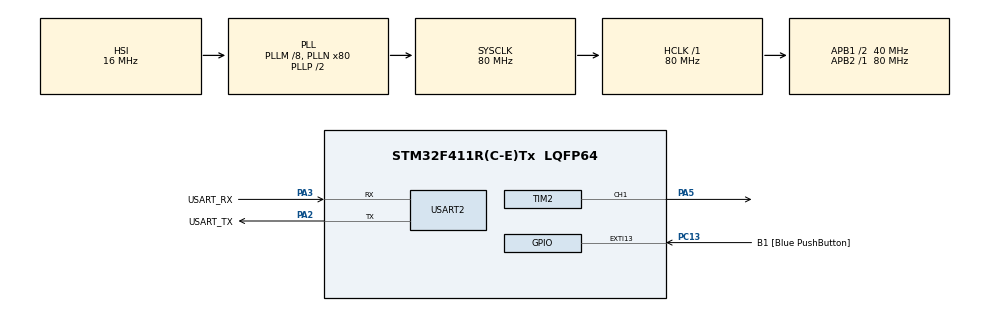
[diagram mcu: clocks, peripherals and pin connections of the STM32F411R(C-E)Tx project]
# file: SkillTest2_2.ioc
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Mcu.Family=STM32F4
Mcu.Name=STM32F411R(C-E)Tx
Mcu.Package=LQFP64
NVIC.EXTI15_10_IRQn=true\:0\:0\:false\:false\:true\:true\:true\:true
NVIC.PriorityGroup=NVIC_PRIORITYGROUP_0
NVIC.TIM1_BRK_TIM9_IRQn=true\:0\:0\:false\:false\:true\:true\:true\:true
NVIC.TIM1_CC_IRQn=true\:0\:0\:false\:false\:true\:true\:true\:true
NVIC.TIM1_TRG_COM_TIM11_IRQn=true\:0\:0\:false\:false\:true\:true\:true\:true
NVIC.TIM1_UP_TIM10_IRQn=true\:0\:0\:false\:false\:true\:true\:true\:true
NVIC.TIM2_IRQn=true\:0\:0\:false\:false\:true\:true\:true\:true
NVIC.TIM3_IRQn=true\:0\:0\:false\:false\:true\:true\:true\:true
PA13.GPIO_Label=TMS
PA13.Mode=Serial_Wire
PA13.Signal=SYS_JTMS-SWDIO
PA14.GPIO_Label=TCK
PA14.Mode=Serial_Wire
PA14.Signal=SYS_JTCK-SWCLK
PA2.GPIO_Label=USART_TX
PA2.Mode=Asynchronous
PA2.Signal=USART2_TX
PA3.GPIO_Label=USART_RX
PA3.Mode=Asynchronous
PA3.Signal=USART2_RX
PA5.Signal=S_TIM2_CH1_ETR
PB3.GPIO_Label=SWO
PB3.Signal=SYS_JTDO-SWO
PC13-ANTI_TAMP.GPIO_Label=B1 [Blue PushButton]
PC13-ANTI_TAMP.GPIO_ModeDefaultEXTI=GPIO_MODE_IT_FALLING
PC13-ANTI_TAMP.Signal=GPXTI13
PC14-OSC32_IN.Mode=LSE-External-Oscillator
PC14-OSC32_IN.Signal=RCC_OSC32_IN
PC15-OSC32_OUT.Mode=LSE-External-Oscillator
PC15-OSC32_OUT.Signal=RCC_OSC32_OUT
PH0\ -\ OSC_IN.Mode=HSE-External-Clock-Source
PH0\ -\ OSC_IN.Signal=RCC_OSC_IN
PH1\ -\ OSC_OUT.Mode=HSE-External-Clock-Source
PH1\ -\ OSC_OUT.Signal=RCC_OSC_OUT
ProjectManager.HeapSize=0x200
ProjectManager.StackSize=0x400
ProjectManager.TargetToolchain=STM32CubeIDE
RCC.48MHZClocksFreq_Value=40000000
RCC.AHBFreq_Value=80000000
RCC.APB1CLKDivider=RCC_HCLK_DIV2
RCC.APB1Freq_Value=40000000
RCC.APB1TimFreq_Value=80000000
RCC.APB2Freq_Value=80000000
RCC.APB2TimFreq_Value=80000000
RCC.CortexFreq_Value=80000000
RCC.FLatency-AdvancedSettings=FLASH_LATENCY_2
RCC.HCLKFreq_Value=80000000
RCC.HSE_VALUE=8000000
RCC.HSI_VALUE=16000000
RCC.PLLM=8
RCC.PLLN=80
RCC.SYSCLKFreq_VALUE=80000000
RCC.SYSCLKSource=RCC_SYSCLKSOURCE_PLLCLK
RCC.VCOOutputFreq_Value=160000000
SH.S_TIM2_CH1_ETR.0=TIM2_CH1,PWM Generation1 CH1
TIM1.Period=300
TIM1.Prescaler=32000
TIM2.AutoReloadPreload=TIM_AUTORELOAD_PRELOAD_ENABLE
TIM2.Channel-PWM\ Generation1\ CH1=TIM_CHANNEL_1
TIM2.Period=799
TIM2.Prescaler=999
TIM2.Pulse-PWM\ Generation1\ CH1=0
TIM3.AutoReloadPreload=TIM_AUTORELOAD_PRELOAD_ENABLE
TIM3.Period=39999
TIM3.Prescaler=19999
USART2.VirtualMode=VM_ASYNC
VP_TIM1_VS_ClockSourceINT.Mode=Internal
VP_TIM2_VS_ClockSourceINT.Mode=Internal
VP_TIM3_VS_ClockSourceINT.Mode=Internal
board=NUCLEO-F411RE

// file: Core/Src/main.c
/* USER CODE BEGIN Header */
/**
  ******************************************************************************
  * @file           : main.c
  * @brief          : Main program body
  ******************************************************************************
  * @attention
  *
  * Copyright (c) 2023 STMicroelectronics.
  * All rights reserved.
  *
  * This software is licensed under terms that can be found in the LICENSE file
  * in the root directory of this software component.
  * If no LICENSE file comes with this software, it is provided AS-IS.
  *
  ******************************************************************************
  */
/* USER CODE END Header */
#include "main.h"

TIM_HandleTypeDef htim1;
TIM_HandleTypeDef htim2;
TIM_HandleTypeDef htim3;

UART_HandleTypeDef huart2;

void SystemClock_Config(void);
static void MX_GPIO_Init(void);
static void MX_USART2_UART_Init(void);
static void MX_TIM2_Init(void);
static void MX_TIM1_Init(void);
static void MX_TIM3_Init(void);

/* USER CODE BEGIN 0 */
int counter = 0;
int isPress = 0;
/* USER CODE END 0 */

int main(void)
{

  /* MCU Configuration--------------------------------------------------------*/

  /* Reset of all peripherals, Initializes the Flash interface and the Systick. */
  HAL_Init();

  /* Configure the system clock */
  SystemClock_Config();

  /* Initialize all configured peripherals */
  MX_GPIO_Init();
  MX_USART2_UART_Init();
  MX_TIM2_Init();
  MX_TIM1_Init();
  MX_TIM3_Init();
  /* USER CODE BEGIN 2 */
  HAL_TIM_Base_Start_IT(&htim1);
  HAL_TIM_Base_Start_IT(&htim3);
  HAL_TIM_PWM_Start(&htim2, TIM_CHANNEL_1);

  TIM2->CCR1 = 0;

  /* USER CODE END 2 */

  /* Infinite loop */
  while (1)
  {

    /* USER CODE BEGIN 3 */
	  TIM2->CCR1 = 80*counter;
  }
  /* USER CODE END 3 */
}

void SystemClock_Config(void)
{
  RCC_OscInitTypeDef RCC_OscInitStruct = {0};
  RCC_ClkInitTypeDef RCC_ClkInitStruct = {0};

  /** Configure the main internal regulator output voltage
  */
  __HAL_RCC_PWR_CLK_ENABLE();
  __HAL_PWR_VOLTAGESCALING_CONFIG(PWR_REGULATOR_VOLTAGE_SCALE1);

  /** Initializes the RCC Oscillators according to the specified parameters
  * in the RCC_OscInitTypeDef structure.
  */
  RCC_OscInitStruct.OscillatorType = RCC_OSCILLATORTYPE_HSI;
  RCC_OscInitStruct.HSIState = RCC_HSI_ON;
  RCC_OscInitStruct.HSICalibrationValue = RCC_HSICALIBRATION_DEFAULT;
  RCC_OscInitStruct.PLL.PLLState = RCC_PLL_ON;
  RCC_OscInitStruct.PLL.PLLSource = RCC_PLLSOURCE_HSI;
  RCC_OscInitStruct.PLL.PLLM = 8;
  RCC_OscInitStruct.PLL.PLLN = 80;
  RCC_OscInitStruct.PLL.PLLP = RCC_PLLP_DIV2;
  RCC_OscInitStruct.PLL.PLLQ = 4;
  if (HAL_RCC_OscConfig(&RCC_OscInitStruct) != HAL_OK)
  {
    Error_Handler();
  }

  /** Initializes the CPU, AHB and APB buses clocks
  */
  RCC_ClkInitStruct.ClockType = RCC_CLOCKTYPE_HCLK|RCC_CLOCKTYPE_SYSCLK
                              |RCC_CLOCKTYPE_PCLK1|RCC_CLOCKTYPE_PCLK2;
  RCC_ClkInitStruct.SYSCLKSource = RCC_SYSCLKSOURCE_PLLCLK;
  RCC_ClkInitStruct.AHBCLKDivider = RCC_SYSCLK_DIV1;
  RCC_ClkInitStruct.APB1CLKDivider = RCC_HCLK_DIV2;
  RCC_ClkInitStruct.APB2CLKDivider = RCC_HCLK_DIV1;

  if (HAL_RCC_ClockConfig(&RCC_ClkInitStruct, FLASH_LATENCY_2) != HAL_OK)
  {
    Error_Handler();
  }
}

static void MX_TIM1_Init(void)
{

  TIM_ClockConfigTypeDef sClockSourceConfig = {0};
  TIM_MasterConfigTypeDef sMasterConfig = {0};

  htim1.Instance = TIM1;
  htim1.Init.Prescaler = 32000;
  htim1.Init.CounterMode = TIM_COUNTERMODE_UP;
  htim1.Init.Period = 300;
  htim1.Init.ClockDivision = TIM_CLOCKDIVISION_DIV1;
  htim1.Init.RepetitionCounter = 0;
  htim1.Init.AutoReloadPreload = TIM_AUTORELOAD_PRELOAD_DISABLE;
  if (HAL_TIM_Base_Init(&htim1) != HAL_OK)
  {
    Error_Handler();
  }
  sClockSourceConfig.ClockSource = TIM_CLOCKSOURCE_INTERNAL;
  if (HAL_TIM_ConfigClockSource(&htim1, &sClockSourceConfig) != HAL_OK)
  {
    Error_Handler();
  }
  sMasterConfig.MasterOutputTrigger = TIM_TRGO_RESET;
  sMasterConfig.MasterSlaveMode = TIM_MASTERSLAVEMODE_DISABLE;
  if (HAL_TIMEx_MasterConfigSynchronization(&htim1, &sMasterConfig) != HAL_OK)
  {
    Error_Handler();
  }

}

static void MX_TIM2_Init(void)
{

  TIM_ClockConfigTypeDef sClockSourceConfig = {0};
  TIM_MasterConfigTypeDef sMasterConfig = {0};
  TIM_OC_InitTypeDef sConfigOC = {0};

  htim2.Instance = TIM2;
  htim2.Init.Prescaler = 999;
  htim2.Init.CounterMode = TIM_COUNTERMODE_UP;
  htim2.Init.Period = 799;
  htim2.Init.ClockDivision = TIM_CLOCKDIVISION_DIV1;
  htim2.Init.AutoReloadPreload = TIM_AUTORELOAD_PRELOAD_ENABLE;
  if (HAL_TIM_Base_Init(&htim2) != HAL_OK)
  {
    Error_Handler();
  }
  sClockSourceConfig.ClockSource = TIM_CLOCKSOURCE_INTERNAL;
  if (HAL_TIM_ConfigClockSource(&htim2, &sClockSourceConfig) != HAL_OK)
  {
    Error_Handler();
  }
  if (HAL_TIM_PWM_Init(&htim2) != HAL_OK)
  {
    Error_Handler();
  }
  sMasterConfig.MasterOutputTrigger = TIM_TRGO_RESET;
  sMasterConfig.MasterSlaveMode = TIM_MASTERSLAVEMODE_DISABLE;
  if (HAL_TIMEx_MasterConfigSynchronization(&htim2, &sMasterConfig) != HAL_OK)
  {
    Error_Handler();
  }
  sConfigOC.OCMode = TIM_OCMODE_PWM1;
  sConfigOC.Pulse = 0;
  sConfigOC.OCPolarity = TIM_OCPOLARITY_HIGH;
  sConfigOC.OCFastMode = TIM_OCFAST_DISABLE;
  if (HAL_TIM_PWM_ConfigChannel(&htim2, &sConfigOC, TIM_CHANNEL_1) != HAL_OK)
  {
    Error_Handler();
  }
  HAL_TIM_MspPostInit(&htim2);

}

static void MX_TIM3_Init(void)
{

  TIM_ClockConfigTypeDef sClockSourceConfig = {0};
  TIM_MasterConfigTypeDef sMasterConfig = {0};

  htim3.Instance = TIM3;
  htim3.Init.Prescaler = 19999;
  htim3.Init.CounterMode = TIM_COUNTERMODE_UP;
  htim3.Init.Period = 39999;
  htim3.Init.ClockDivision = TIM_CLOCKDIVISION_DIV1;
  htim3.Init.AutoReloadPreload = TIM_AUTORELOAD_PRELOAD_ENABLE;
  if (HAL_TIM_Base_Init(&htim3) != HAL_OK)
  {
    Error_Handler();
  }
  sClockSourceConfig.ClockSource = TIM_CLOCKSOURCE_INTERNAL;
  if (HAL_TIM_ConfigClockSource(&htim3, &sClockSourceConfig) != HAL_OK)
  {
    Error_Handler();
  }
  sMasterConfig.MasterOutputTrigger = TIM_TRGO_RESET;
  sMasterConfig.MasterSlaveMode = TIM_MASTERSLAVEMODE_DISABLE;
  if (HAL_TIMEx_MasterConfigSynchronization(&htim3, &sMasterConfig) != HAL_OK)
  {
    Error_Handler();
  }

}

static void MX_USART2_UART_Init(void)
{

  huart2.Instance = USART2;
  huart2.Init.BaudRate = 115200;
  huart2.Init.WordLength = UART_WORDLENGTH_8B;
  huart2.Init.StopBits = UART_STOPBITS_1;
  huart2.Init.Parity = UART_PARITY_NONE;
  huart2.Init.Mode = UART_MODE_TX_RX;
  huart2.Init.HwFlowCtl = UART_HWCONTROL_NONE;
  huart2.Init.OverSampling = UART_OVERSAMPLING_16;
  if (HAL_UART_Init(&huart2) != HAL_OK)
  {
    Error_Handler();
  }

}

static void MX_GPIO_Init(void)
{
  GPIO_InitTypeDef GPIO_InitStruct = {0};

  /* GPIO Ports Clock Enable */
  __HAL_RCC_GPIOC_CLK_ENABLE();
  __HAL_RCC_GPIOH_CLK_ENABLE();
  __HAL_RCC_GPIOA_CLK_ENABLE();
  __HAL_RCC_GPIOB_CLK_ENABLE();

  /*Configure GPIO pin : B1_Pin */
  GPIO_InitStruct.Pin = B1_Pin;
  GPIO_InitStruct.Mode = GPIO_MODE_IT_FALLING;
  GPIO_InitStruct.Pull = GPIO_NOPULL;
  HAL_GPIO_Init(B1_GPIO_Port, &GPIO_InitStruct);

  /* EXTI interrupt init*/
  HAL_NVIC_SetPriority(EXTI15_10_IRQn, 0, 0);
  HAL_NVIC_EnableIRQ(EXTI15_10_IRQn);

}

/* USER CODE BEGIN 4 */
void HAL_GPIO_EXTI_Callback(uint16_t GPIO_Pin)
{
  if(GPIO_Pin == GPIO_PIN_13 && isPress == 0) {
	  counter = (counter + 1) % 10;
	  char temp = counter + 97;
	  HAL_UART_Transmit(&huart2, &temp, 1, 100);
	  isPress = 1;
  }
}

void HAL_TIM_PeriodElapsedCallback(TIM_HandleTypeDef *htim) {
	if (htim->Instance == TIM1) {
		if (HAL_GPIO_ReadPin(GPIOC, GPIO_PIN_13) == GPIO_PIN_RESET) {
			isPress = 0;
		}
	}

	if (htim->Instance == TIM3) {
		counter = 0;
	}
}
/* USER CODE END 4 */

void Error_Handler(void)
{
  __disable_irq();
  while (1)
  {
  }
}
